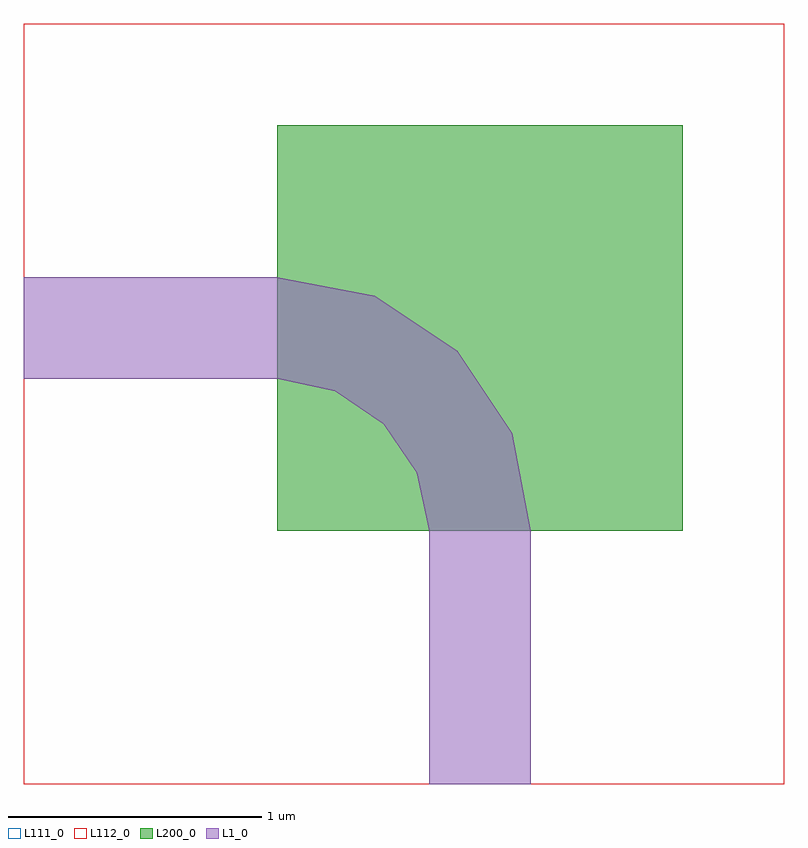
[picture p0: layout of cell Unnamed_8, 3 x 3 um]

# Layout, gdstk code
from math import pi, radians
import gdstk
lib = gdstk.Library(unit=1e-6, precision=1e-09)
def R(c, l, rs):  # rectangles x0, y0, x1, y1
    for r in rs: c.add(gdstk.rectangle(r[:2], r[2:], *l))
def P(c, l, *ps):  # polygons
    for p in ps: c.add(gdstk.Polygon(p, *l))
L1_0 = (1, 0)
L111_0 = (111, 0)
L112_0 = (112, 0)
L200_0 = (200, 0)

unnamed_5 = lib.new_cell('Unnamed_5')
R(unnamed_5, L1_0, [(0,-0.2,1,0.2)])

unnamed_6 = lib.new_cell('Unnamed_6')
R(unnamed_6, L1_0, [(0,-0.2,1,0.2)])

unnamed_7 = lib.new_cell('Unnamed_7')
P(unnamed_7, L1_0, [(0.6,0.8),(0.551,1.028),(0.421,1.221),(0.228,1.351),(0,1.4),(0,1.8),(0.384,1.727),(0.71,1.51),(0.927,1.184),(1,0.8)])

unnamed_0 = lib.new_cell('Unnamed_0')
R(unnamed_0, L200_0, [(0,0,1.6,1.6)])

bend = lib.new_cell('bend')
bend.add(gdstk.Reference(unnamed_5, (-1,0.8)))
bend.add(gdstk.Reference(unnamed_6, (0.8,-1), rotation=pi/2))
bend.add(gdstk.Reference(unnamed_7, (0,-0.8)))
bend.add(gdstk.Reference(unnamed_0, (0,0)))

unnamed_8 = lib.new_cell('Unnamed_8')
R(unnamed_8, L111_0, [(-1,-1,2,2)])
R(unnamed_8, L112_0, [(-1,-1,2,2)])
unnamed_8.add(gdstk.Reference(bend, (0,0)))

lib.write_gds('Unnamed_8.gds')
